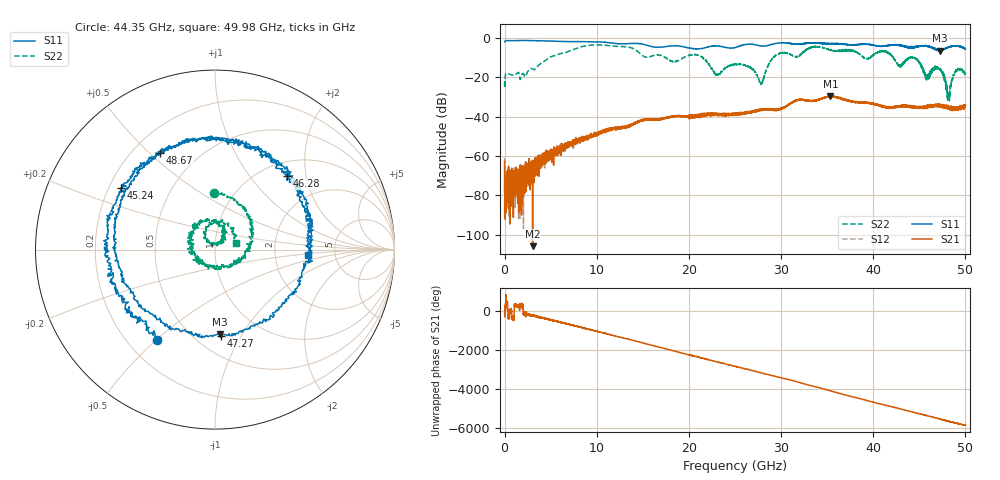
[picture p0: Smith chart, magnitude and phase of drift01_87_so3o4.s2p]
!Created with skrf (http://scikit-rf.org).
# Hz S RI R 50.0
!freq ReS11 ImS11 ReS21 ImS21 ReS12 ImS12 ReS22 ImS22
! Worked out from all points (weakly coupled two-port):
!   10001 points, 300 kHz to 50 GHz, reference 50 ohm
!   highest |S21| = -29.56 dB at 35.35 GHz (marker M1); lowest = -105.9 dB at 3.04 GHz (marker M2)
!   lowest |S11| = -6.5 dB at 47.28 GHz (marker M3), VSWR 2.78, Z = 33.4 - j40.3 ohm
!   |S11| at or under -10 dB: nowhere
!   |S22| runs from -32.4 to -3.6 dB; largest |S21 - S12| = 0.0033
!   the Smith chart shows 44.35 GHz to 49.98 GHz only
!   S11 on the Smith chart (normalised r, x): 44.35 GHz: 0.32, -0.50; 45.24 GHz: 0.25, +0.28; 46.28 GHz: 1.27, +1.55; 47.27 GHz: 0.66, -0.83; 48.67 GHz: 0.31, +0.54; 49.98 GHz: 3.15, -0.26
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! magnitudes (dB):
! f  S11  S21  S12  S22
! 300 kHz  -2.1  -62.7  -61.0  -22.0
! 260.3 MHz  -1.4  -71.7  -79.2  -18.0
! 3.04 GHz  -1.5  -105.9  -67.1  -15.8
! 8.335 GHz  -1.9  -52.4  -52.2  -4.6
! 16.67 GHz  -4.8  -41.5  -41.6  -8.7
! 20.98 GHz  -5.6  -39.7  -39.8  -8.8
! 23.1 GHz  -4.1  -39.4  -39.3  -18.8
! 25 GHz  -5.0  -39.3  -39.1  -13.5
! 27.85 GHz  -4.2  -36.9  -36.5  -23.1
! 29.46 GHz  -2.9  -37.2  -36.5  -8.8
! 33.34 GHz  -2.6  -32.1  -32.0  -4.7
! 35.35 GHz  -3.0  -29.6  -29.9  -6.3
! 41.67 GHz  -3.9  -35.4  -35.1  -7.7
! 44.35 GHz  -4.5  -34.9  -35.3  -10.0
! 45.24 GHz  -4.1  -35.6  -35.3  -14.3
! 46.28 GHz  -4.8  -34.8  -34.6  -16.3
! 47.27 GHz  -6.3  -34.9  -34.5  -16.4
! 47.28 GHz  -6.5  -34.4  -34.6  -16.6
! 48.12 GHz  -4.9  -35.0  -35.9  -29.8
! 48.67 GHz  -4.2  -35.4  -35.8  -19.3
! 49.98 GHz  -5.7  -34.5  -35.0  -18.3
! 50 GHz  -5.5  -34.3  -35.5  -18.3
